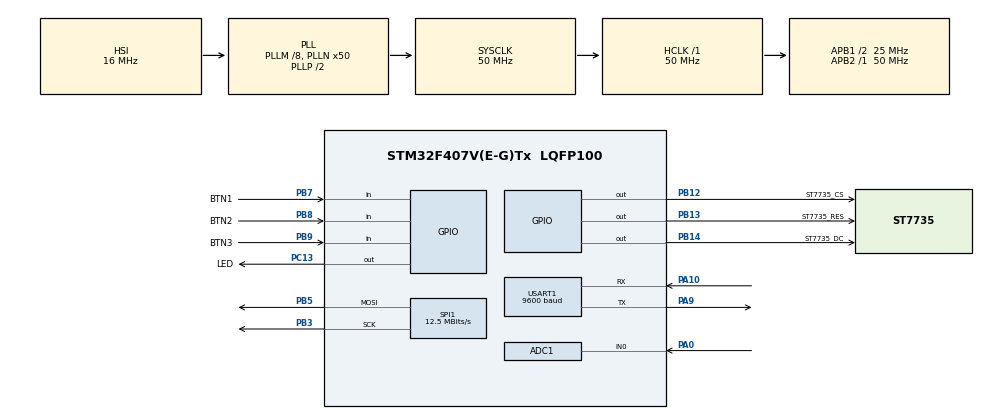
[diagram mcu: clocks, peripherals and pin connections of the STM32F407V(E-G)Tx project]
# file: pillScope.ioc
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ADC1.Channel-0\#ChannelRegularConversion=ADC_CHANNEL_0
ADC1.ClockPrescaler=ADC_CLOCK_SYNC_PCLK_DIV4
ADC1.NbrOfConversionFlag=1
ADC1.Rank-0\#ChannelRegularConversion=1
ADC1.SamplingTime-0\#ChannelRegularConversion=ADC_SAMPLETIME_3CYCLES
ADC1.master=1
Dma.ADC1.1.Direction=DMA_PERIPH_TO_MEMORY
Dma.ADC1.1.FIFOMode=DMA_FIFOMODE_DISABLE
Dma.ADC1.1.Instance=DMA2_Stream0
Dma.ADC1.1.MemDataAlignment=DMA_MDATAALIGN_HALFWORD
Dma.ADC1.1.MemInc=DMA_MINC_ENABLE
Dma.ADC1.1.Mode=DMA_NORMAL
Dma.ADC1.1.PeriphDataAlignment=DMA_PDATAALIGN_HALFWORD
Dma.ADC1.1.PeriphInc=DMA_PINC_DISABLE
Dma.ADC1.1.Priority=DMA_PRIORITY_HIGH
Dma.MEMTOMEM.0.Direction=DMA_MEMORY_TO_MEMORY
Dma.MEMTOMEM.0.FIFOMode=DMA_FIFOMODE_ENABLE
Dma.MEMTOMEM.0.FIFOThreshold=DMA_FIFO_THRESHOLD_FULL
Dma.MEMTOMEM.0.Instance=DMA2_Stream1
Dma.MEMTOMEM.0.MemBurst=DMA_MBURST_SINGLE
Dma.MEMTOMEM.0.MemDataAlignment=DMA_MDATAALIGN_BYTE
Dma.MEMTOMEM.0.MemInc=DMA_MINC_ENABLE
Dma.MEMTOMEM.0.Mode=DMA_NORMAL
Dma.MEMTOMEM.0.PeriphBurst=DMA_PBURST_SINGLE
Dma.MEMTOMEM.0.PeriphDataAlignment=DMA_PDATAALIGN_BYTE
Dma.MEMTOMEM.0.PeriphInc=DMA_PINC_ENABLE
Dma.MEMTOMEM.0.Priority=DMA_PRIORITY_LOW
Dma.Request0=MEMTOMEM
Dma.Request1=ADC1
Mcu.Family=STM32F4
Mcu.Name=STM32F407V(E-G)Tx
Mcu.Package=LQFP100
NVIC.DMA2_Stream0_IRQn=true\:0\:0\:false\:false\:true\:false\:true\:true
NVIC.DMA2_Stream1_IRQn=true\:0\:0\:false\:false\:true\:true\:true\:true
NVIC.PriorityGroup=NVIC_PRIORITYGROUP_4
NVIC.USART1_IRQn=true\:0\:0\:false\:false\:true\:true\:true\:true
PA0-WKUP.Signal=ADCx_IN0
PA10.Mode=Asynchronous
PA10.Signal=USART1_RX
PA13.Mode=Serial_Wire
PA13.Signal=SYS_JTMS-SWDIO
PA14.Mode=Serial_Wire
PA14.Signal=SYS_JTCK-SWCLK
PA9.Mode=Asynchronous
PA9.Signal=USART1_TX
PB12.GPIO_Label=ST7735_CS
PB12.Signal=GPIO_Output
PB13.GPIO_Label=ST7735_RES
PB13.Signal=GPIO_Output
PB14.GPIO_Label=ST7735_DC
PB14.Signal=GPIO_Output
PB3.Mode=TX_Only_Simplex_Unidirect_Master
PB3.Signal=SPI1_SCK
PB5.Mode=TX_Only_Simplex_Unidirect_Master
PB5.Signal=SPI1_MOSI
PB7.GPIO_Label=BTN1
PB7.Signal=GPIO_Input
PB8.GPIO_Label=BTN2
PB8.Signal=GPIO_Input
PB9.GPIO_Label=BTN3
PB9.Signal=GPIO_Input
PC13-ANTI_TAMP.GPIO_Label=LED
PC13-ANTI_TAMP.Signal=GPIO_Output
PH0-OSC_IN.Mode=HSE-External-Oscillator
PH0-OSC_IN.Signal=RCC_OSC_IN
PH1-OSC_OUT.Mode=HSE-External-Oscillator
PH1-OSC_OUT.Signal=RCC_OSC_OUT
ProjectManager.HeapSize=0x200
ProjectManager.StackSize=0x400
ProjectManager.TargetToolchain=STM32CubeIDE
RCC.48MHZClocksFreq_Value=25000000
RCC.AHBFreq_Value=50000000
RCC.APB1CLKDivider=RCC_HCLK_DIV2
RCC.APB1Freq_Value=25000000
RCC.APB1TimFreq_Value=50000000
RCC.APB2Freq_Value=50000000
RCC.APB2TimFreq_Value=50000000
RCC.CortexFreq_Value=50000000
RCC.HCLKFreq_Value=50000000
RCC.HSE_VALUE=25000000
RCC.HSI_VALUE=16000000
RCC.LSE_VALUE=32768
RCC.PLLM=8
RCC.PLLN=50
RCC.SYSCLKFreq_VALUE=50000000
RCC.SYSCLKSource=RCC_SYSCLKSOURCE_PLLCLK
RCC.VCOOutputFreq_Value=100000000
SH.ADCx_IN0.0=ADC1_IN0,IN0
SPI1.BaudRatePrescaler=SPI_BAUDRATEPRESCALER_4
SPI1.CalculateBaudRate=12.5 MBits/s
SPI1.Direction=SPI_DIRECTION_2LINES
SPI1.Mode=SPI_MODE_MASTER
SPI1.VirtualType=VM_MASTER
TIM3.TIM_MasterOutputTrigger=TIM_TRGO_UPDATE
USART1.BaudRate=9600
USART1.VirtualMode=VM_ASYNC
VP_TIM3_VS_ClockSourceINT.Mode=Internal
board=custom

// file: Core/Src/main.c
/* USER CODE BEGIN Header */
/**
  ******************************************************************************
  * @file           : main.c
  * @brief          : Main program body
  ******************************************************************************
  * @attention
  *
  * Copyright (c) 2023 STMicroelectronics.
  * All rights reserved.
  *
  * This software is licensed under terms that can be found in the LICENSE file
  * in the root directory of this software component.
  * If no LICENSE file comes with this software, it is provided AS-IS.
  *
  ******************************************************************************
  */
/* USER CODE END Header */
#include "main.h"

/* USER CODE BEGIN Includes */
#include "stdio.h"
/* USER CODE END Includes */

ADC_HandleTypeDef hadc1;
DMA_HandleTypeDef hdma_adc1;

SPI_HandleTypeDef hspi1;

TIM_HandleTypeDef htim3;

UART_HandleTypeDef huart1;

DMA_HandleTypeDef hdma_memtomem_dma2_stream1;

void SystemClock_Config(void);
static void MX_GPIO_Init(void);
static void MX_DMA_Init(void);
static void MX_ADC1_Init(void);
static void MX_SPI1_Init(void);
static void MX_TIM3_Init(void);
static void MX_USART1_UART_Init(void);

int main(void)
{

  /* MCU Configuration--------------------------------------------------------*/

  /* Reset of all peripherals, Initializes the Flash interface and the Systick. */
  HAL_Init();

  /* Configure the system clock */
  SystemClock_Config();

  /* Initialize all configured peripherals */
  MX_GPIO_Init();
  MX_DMA_Init();
  MX_ADC1_Init();
  MX_SPI1_Init();
  MX_TIM3_Init();
  MX_USART1_UART_Init();
  /* USER CODE BEGIN 2 */
  scopeInit();
  /* USER CODE END 2 */

  /* Infinite loop */
  while (1)
  {
    scopeLoop();
  }
}

void SystemClock_Config(void)
{
  RCC_OscInitTypeDef RCC_OscInitStruct = {0};
  RCC_ClkInitTypeDef RCC_ClkInitStruct = {0};

  /** Configure the main internal regulator output voltage
  */
  __HAL_RCC_PWR_CLK_ENABLE();
  __HAL_PWR_VOLTAGESCALING_CONFIG(PWR_REGULATOR_VOLTAGE_SCALE1);

  /** Initializes the RCC Oscillators according to the specified parameters
  * in the RCC_OscInitTypeDef structure.
  */
  RCC_OscInitStruct.OscillatorType = RCC_OSCILLATORTYPE_HSI;
  RCC_OscInitStruct.HSIState = RCC_HSI_ON;
  RCC_OscInitStruct.HSICalibrationValue = RCC_HSICALIBRATION_DEFAULT;
  RCC_OscInitStruct.PLL.PLLState = RCC_PLL_ON;
  RCC_OscInitStruct.PLL.PLLSource = RCC_PLLSOURCE_HSI;
  RCC_OscInitStruct.PLL.PLLM = 8;
  RCC_OscInitStruct.PLL.PLLN = 50;
  RCC_OscInitStruct.PLL.PLLP = RCC_PLLP_DIV2;
  RCC_OscInitStruct.PLL.PLLQ = 4;
  if (HAL_RCC_OscConfig(&RCC_OscInitStruct) != HAL_OK)
  {
    Error_Handler();
  }

  /** Initializes the CPU, AHB and APB buses clocks
  */
  RCC_ClkInitStruct.ClockType = RCC_CLOCKTYPE_HCLK|RCC_CLOCKTYPE_SYSCLK
                              |RCC_CLOCKTYPE_PCLK1|RCC_CLOCKTYPE_PCLK2;
  RCC_ClkInitStruct.SYSCLKSource = RCC_SYSCLKSOURCE_PLLCLK;
  RCC_ClkInitStruct.AHBCLKDivider = RCC_SYSCLK_DIV1;
  RCC_ClkInitStruct.APB1CLKDivider = RCC_HCLK_DIV2;
  RCC_ClkInitStruct.APB2CLKDivider = RCC_HCLK_DIV1;

  if (HAL_RCC_ClockConfig(&RCC_ClkInitStruct, FLASH_LATENCY_1) != HAL_OK)
  {
    Error_Handler();
  }
}

static void MX_ADC1_Init(void)
{

  ADC_ChannelConfTypeDef sConfig = {0};

  /** Configure the global features of the ADC (Clock, Resolution, Data Alignment and number of conversion)
  */
  hadc1.Instance = ADC1;
  hadc1.Init.ClockPrescaler = ADC_CLOCK_SYNC_PCLK_DIV4;
  hadc1.Init.Resolution = ADC_RESOLUTION_12B;
  hadc1.Init.ScanConvMode = DISABLE;
  hadc1.Init.ContinuousConvMode = DISABLE;
  hadc1.Init.DiscontinuousConvMode = DISABLE;
  hadc1.Init.ExternalTrigConvEdge = ADC_EXTERNALTRIGCONVEDGE_NONE;
  hadc1.Init.ExternalTrigConv = ADC_SOFTWARE_START;
  hadc1.Init.DataAlign = ADC_DATAALIGN_RIGHT;
  hadc1.Init.NbrOfConversion = 1;
  hadc1.Init.DMAContinuousRequests = DISABLE;
  hadc1.Init.EOCSelection = ADC_EOC_SINGLE_CONV;
  if (HAL_ADC_Init(&hadc1) != HAL_OK)
  {
    Error_Handler();
  }

  /** Configure for the selected ADC regular channel its corresponding rank in the sequencer and its sample time.
  */
  sConfig.Channel = ADC_CHANNEL_0;
  sConfig.Rank = 1;
  sConfig.SamplingTime = ADC_SAMPLETIME_3CYCLES;
  if (HAL_ADC_ConfigChannel(&hadc1, &sConfig) != HAL_OK)
  {
    Error_Handler();
  }

}

static void MX_SPI1_Init(void)
{

  /* SPI1 parameter configuration*/
  hspi1.Instance = SPI1;
  hspi1.Init.Mode = SPI_MODE_MASTER;
  hspi1.Init.Direction = SPI_DIRECTION_2LINES;
  hspi1.Init.DataSize = SPI_DATASIZE_8BIT;
  hspi1.Init.CLKPolarity = SPI_POLARITY_LOW;
  hspi1.Init.CLKPhase = SPI_PHASE_1EDGE;
  hspi1.Init.NSS = SPI_NSS_SOFT;
  hspi1.Init.BaudRatePrescaler = SPI_BAUDRATEPRESCALER_4;
  hspi1.Init.FirstBit = SPI_FIRSTBIT_MSB;
  hspi1.Init.TIMode = SPI_TIMODE_DISABLE;
  hspi1.Init.CRCCalculation = SPI_CRCCALCULATION_DISABLE;
  hspi1.Init.CRCPolynomial = 10;
  if (HAL_SPI_Init(&hspi1) != HAL_OK)
  {
    Error_Handler();
  }

}

static void MX_TIM3_Init(void)
{

  TIM_ClockConfigTypeDef sClockSourceConfig = {0};
  TIM_MasterConfigTypeDef sMasterConfig = {0};

  htim3.Instance = TIM3;
  htim3.Init.Prescaler = 0;
  htim3.Init.CounterMode = TIM_COUNTERMODE_UP;
  htim3.Init.Period = 65535;
  htim3.Init.ClockDivision = TIM_CLOCKDIVISION_DIV1;
  htim3.Init.AutoReloadPreload = TIM_AUTORELOAD_PRELOAD_DISABLE;
  if (HAL_TIM_Base_Init(&htim3) != HAL_OK)
  {
    Error_Handler();
  }
  sClockSourceConfig.ClockSource = TIM_CLOCKSOURCE_INTERNAL;
  if (HAL_TIM_ConfigClockSource(&htim3, &sClockSourceConfig) != HAL_OK)
  {
    Error_Handler();
  }
  sMasterConfig.MasterOutputTrigger = TIM_TRGO_UPDATE;
  sMasterConfig.MasterSlaveMode = TIM_MASTERSLAVEMODE_DISABLE;
  if (HAL_TIMEx_MasterConfigSynchronization(&htim3, &sMasterConfig) != HAL_OK)
  {
    Error_Handler();
  }

}

static void MX_USART1_UART_Init(void)
{

  huart1.Instance = USART1;
  huart1.Init.BaudRate = 9600;
  huart1.Init.WordLength = UART_WORDLENGTH_8B;
  huart1.Init.StopBits = UART_STOPBITS_1;
  huart1.Init.Parity = UART_PARITY_NONE;
  huart1.Init.Mode = UART_MODE_TX_RX;
  huart1.Init.HwFlowCtl = UART_HWCONTROL_NONE;
  huart1.Init.OverSampling = UART_OVERSAMPLING_16;
  if (HAL_UART_Init(&huart1) != HAL_OK)
  {
    Error_Handler();
  }

}

static void MX_DMA_Init(void)
{

  /* DMA controller clock enable */
  __HAL_RCC_DMA2_CLK_ENABLE();

  /* Configure DMA request hdma_memtomem_dma2_stream1 on DMA2_Stream1 */
  hdma_memtomem_dma2_stream1.Instance = DMA2_Stream1;
  hdma_memtomem_dma2_stream1.Init.Channel = DMA_CHANNEL_0;
  hdma_memtomem_dma2_stream1.Init.Direction = DMA_MEMORY_TO_MEMORY;
  hdma_memtomem_dma2_stream1.Init.PeriphInc = DMA_PINC_ENABLE;
  hdma_memtomem_dma2_stream1.Init.MemInc = DMA_MINC_ENABLE;
  hdma_memtomem_dma2_stream1.Init.PeriphDataAlignment = DMA_PDATAALIGN_BYTE;
  hdma_memtomem_dma2_stream1.Init.MemDataAlignment = DMA_MDATAALIGN_BYTE;
  hdma_memtomem_dma2_stream1.Init.Mode = DMA_NORMAL;
  hdma_memtomem_dma2_stream1.Init.Priority = DMA_PRIORITY_LOW;
  hdma_memtomem_dma2_stream1.Init.FIFOMode = DMA_FIFOMODE_ENABLE;
  hdma_memtomem_dma2_stream1.Init.FIFOThreshold = DMA_FIFO_THRESHOLD_FULL;
  hdma_memtomem_dma2_stream1.Init.MemBurst = DMA_MBURST_SINGLE;
  hdma_memtomem_dma2_stream1.Init.PeriphBurst = DMA_PBURST_SINGLE;
  if (HAL_DMA_Init(&hdma_memtomem_dma2_stream1) != HAL_OK)
  {
    Error_Handler( );
  }

  /* DMA interrupt init */
  /* DMA2_Stream0_IRQn interrupt configuration */
  HAL_NVIC_SetPriority(DMA2_Stream0_IRQn, 0, 0);
  HAL_NVIC_EnableIRQ(DMA2_Stream0_IRQn);
  /* DMA2_Stream1_IRQn interrupt configuration */
  HAL_NVIC_SetPriority(DMA2_Stream1_IRQn, 0, 0);
  HAL_NVIC_EnableIRQ(DMA2_Stream1_IRQn);

}

static void MX_GPIO_Init(void)
{
  GPIO_InitTypeDef GPIO_InitStruct = {0};

  /* GPIO Ports Clock Enable */
  __HAL_RCC_GPIOC_CLK_ENABLE();
  __HAL_RCC_GPIOH_CLK_ENABLE();
  __HAL_RCC_GPIOA_CLK_ENABLE();
  __HAL_RCC_GPIOB_CLK_ENABLE();

  /*Configure GPIO pin Output Level */
  HAL_GPIO_WritePin(LED_GPIO_Port, LED_Pin, GPIO_PIN_RESET);

  /*Configure GPIO pin Output Level */
  HAL_GPIO_WritePin(GPIOB, ST7735_CS_Pin|ST7735_RES_Pin|ST7735_DC_Pin, GPIO_PIN_RESET);

  /*Configure GPIO pin : LED_Pin */
  GPIO_InitStruct.Pin = LED_Pin;
  GPIO_InitStruct.Mode = GPIO_MODE_OUTPUT_PP;
  GPIO_InitStruct.Pull = GPIO_NOPULL;
  GPIO_InitStruct.Speed = GPIO_SPEED_FREQ_LOW;
  HAL_GPIO_Init(LED_GPIO_Port, &GPIO_InitStruct);

  /*Configure GPIO pins : ST7735_CS_Pin ST7735_RES_Pin ST7735_DC_Pin */
  GPIO_InitStruct.Pin = ST7735_CS_Pin|ST7735_RES_Pin|ST7735_DC_Pin;
  GPIO_InitStruct.Mode = GPIO_MODE_OUTPUT_PP;
  GPIO_InitStruct.Pull = GPIO_NOPULL;
  GPIO_InitStruct.Speed = GPIO_SPEED_FREQ_LOW;
  HAL_GPIO_Init(GPIOB, &GPIO_InitStruct);

  /*Configure GPIO pins : BTN1_Pin BTN2_Pin BTN3_Pin */
  GPIO_InitStruct.Pin = BTN1_Pin|BTN2_Pin|BTN3_Pin;
  GPIO_InitStruct.Mode = GPIO_MODE_INPUT;
  GPIO_InitStruct.Pull = GPIO_NOPULL;
  HAL_GPIO_Init(GPIOB, &GPIO_InitStruct);

}

/* USER CODE BEGIN 4 */
int __io_putchar(int ch)
{
  writeChar(ch);
  return ch;
}

void printFloat(float v, int decimalDigits, char s[])
{
  uint8_t neg = 0;
  if (v < 0)
  {
    neg = 1;
    v = v - (2.0 * v);
  }
  int i = 1;
  int intPart, fractPart;
  for (; decimalDigits != 0; i *= 10, decimalDigits--);
  intPart = (int)v;
  fractPart = (int)((v - (float)(int)v) * i);
  if (fractPart < 0)
    fractPart *= -1;
  sprintf(s, "%s%i.%i", neg ? "-" : "", intPart, fractPart);
}

void dma_memcpy(void *destination, const void *source, size_t num){
  HAL_DMA_Start_IT(&hdma_memtomem_dma2_stream1, source, destination, num);
  while(HAL_DMA_GetState(&hdma_memtomem_dma2_stream1) != HAL_DMA_STATE_READY);
}
/* USER CODE END 4 */

void Error_Handler(void)
{
  __disable_irq();
  while (1)
  {
  }
}
